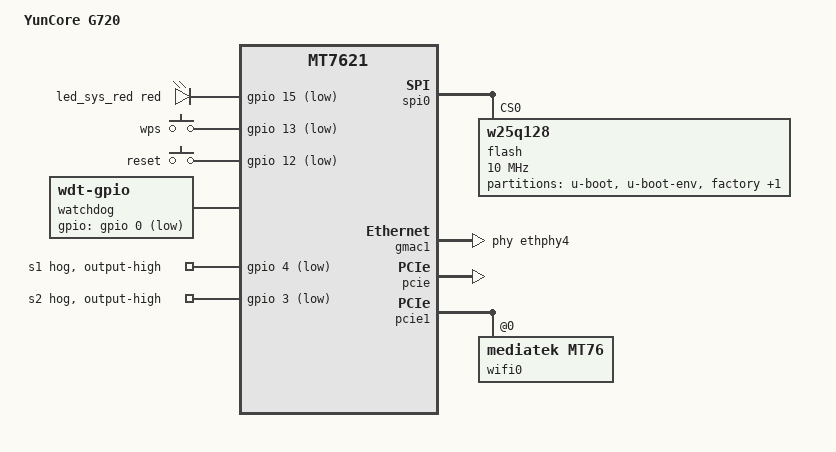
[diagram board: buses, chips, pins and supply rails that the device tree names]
#include <dt-bindings/gpio/gpio.h>
#include <dt-bindings/input/input.h>
#include <dt-bindings/leds/common.h>

#include "mt7621.dtsi"

/ {
	compatible = "yuncore,g720", "mediatek,mt7621-soc";
	model = "YunCore G720";

	aliases {
		label-mac-device = &wifi0;
		led-boot = &led_sys_red;
		led-failsafe = &led_sys_red;
		led-running = &led_sys_red;
		led-upgrade = &led_sys_red;
	};

	chosen {
		bootargs = "console=ttyS0,115200";
	};

	leds {
		compatible = "gpio-leds";

		led_sys_red: led-sys {
			color = <LED_COLOR_ID_RED>;
			function = LED_FUNCTION_STATUS;
			gpios = <&gpio 15 GPIO_ACTIVE_LOW>;
		};
	};

	keys {
		compatible = "gpio-keys";

		wps {
			label = "wps";
			gpios = <&gpio 13 GPIO_ACTIVE_LOW>;
			linux,code = <KEY_WPS_BUTTON>;
		};

		reset {
			label = "reset";
			gpios = <&gpio 12 GPIO_ACTIVE_LOW>;
			linux,code = <KEY_RESTART>;
		};
	};

	watchdog {
		compatible = "linux,wdt-gpio";
		gpios = <&gpio 0 GPIO_ACTIVE_LOW>;
		hw_algo = "toggle";
		hw_margin_ms = <200>;
		always-running;
	};
};

&gpio {
	s1 {
		gpio-hog;
		line-name = "s1";
		gpios = <4 GPIO_ACTIVE_LOW>;
		output-high;
	};

	s2 {
		gpio-hog;
		line-name = "s2";
		gpios = <3 GPIO_ACTIVE_LOW>;
		output-high;
	};
};

&spi0 {
	status = "okay";

	flash@0 {
		compatible = "w25q128", "jedec,spi-nor";
		reg = <0>;
		spi-max-frequency = <10000000>;

		partitions {
			compatible = "fixed-partitions";
			#address-cells = <1>;
			#size-cells = <1>;

			partition@0 {
				label = "u-boot";
				reg = <0x0 0x30000>;
				read-only;
			};

			partition@30000 {
				label = "u-boot-env";
				reg = <0x30000 0x10000>;
				read-only;
			};

			partition@40000 {
				label = "factory";
				reg = <0x50000 0x40000>;
				read-only;

				nvmem-layout {
					compatible = "fixed-layout";
					#address-cells = <1>;
					#size-cells = <1>;

					eeprom_factory_0: eeprom@0 {
						reg = <0x0 0xe00>;
					};

					macaddr_factory_e000: macaddr@e000 {
						reg = <0xe000 0x6>;
					};

					macaddr_factory_e006: macaddr@e006 {
						reg = <0xe006 0x6>;
					};
				};
			};

			partition@50000 {
				compatible = "denx,uimage";
				label = "firmware";
				reg = <0x90000 0xf70000>;
			};
		};
	};
};

&gmac0 {
	nvmem-cells = <&macaddr_factory_e000>;
	nvmem-cell-names = "mac-address";
};

&gmac1 {
	status = "okay";
	label = "wan";
	phy-handle = <&ethphy4>;

	nvmem-cells = <&macaddr_factory_e006>;
	nvmem-cell-names = "mac-address";
};

&ethphy4 {
	/delete-property/ interrupts;
};

&switch0 {
	ports {
		port@0 {
			status = "okay";
			label = "lan1";
		};

		port@1 {
			status = "okay";
			label = "lan2";
		};

		port@2 {
			status = "okay";
			label = "lan3";
		};

		port@3 {
			status = "okay";
			label = "lan4";
		};
	};
};

&pcie {
	status = "okay";
};

&pcie1 {
	wifi0: wifi@0,0 {
		compatible = "mediatek,mt76";
		reg = <0x0000 0 0 0 0>;
		nvmem-cells = <&eeprom_factory_0>;
		nvmem-cell-names = "eeprom";
	};
};

&state_default {
	gpio {
		groups = "jtag", "wdt";
		function = "gpio";
	};
};
